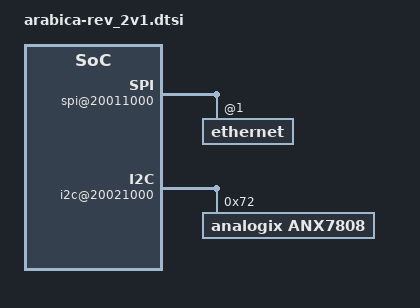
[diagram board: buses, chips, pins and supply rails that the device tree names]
/*
 * This file is for MADK v2.1
 */

/ {
	connectivity {
		wlan@0{
			power_gpio = <120>;
		};
/* sdio start */
		sdhci@0x20006000{
			sdclk = <200>;			/* 200Mhz, UHS104*/
		};
/* sdio end */
	};

	gpio-keys {
		button@1 {
			gpios = <&gpio2 1 1>;
		};
		button@2 {
			gpios = <&gpio2 2 1>;
		};
	};

	soc {

		spi@20011000{
			ethernet@1{
				irq_gpio = <5>;
			};
		};

		max77819_pmic {
			irq_gpio = <136>;
		};

		 pmic1: d2260@48 {
			regulators {
				D2260_GPIOCTRL_1 {
					regulator-name = "+1.8V_VT_CAM_IO";
					regulator-enable-gpio = <173>;
				};
			};
				};

		i2c@20021000 {

			/* LGE_CHANGE_S
			 */
			anx7808@72{
				compatible = "analogix,anx7808";
				status = "ok";
				reg = <0x72>;
				analogix,reset-gpio = <52>; /* PERI_G0_GPIO_BASE(0)+52 */
				analogix,irq-gpio = <51>;   /* PERI_G0_GPIO_BASE(0)+51 */
				analogix,p-dwn-gpio = <53>; /* PERI_G0_GPIO_BASE(0)+53 */
				analogix,v10-ctrl-gpio = <31>;  /* PERI_G0_GPIO_BASE(0)+31 */
				analogix,cbl-det-gpio = <146>;  /* SMS_GPIO_BASE(112)+34 */
				lge,external-ldo-control = <0>;
			};
			anx7812@72{
				compatible = "analogix,anx7812";
				status = "disable";
				reg = <0x72>;
				analogix,reset-gpio = <52>; /* PERI_G0_GPIO_BASE(0)+52 */
				analogix,irq-gpio = <51>;   /* PERI_G0_GPIO_BASE(0)+51 */
				analogix,p-dwn-gpio = <53>; /* PERI_G0_GPIO_BASE(0)+53 */
				analogix,v10-ctrl-gpio = <31>;  /* PERI_G0_GPIO_BASE(0)+31 */
				analogix,cbl-det-gpio = <142>;  /* SMS_GPIO_BASE(112)+30 */
				lge,external-ldo-control = <0>;
			};
		};

		max77807_pmic {
			compatible = "maxim,max77807-pmic";
			status = "disable";

			charger {
				compatible = "maxim,max77807-charger";
				status = "disable";
			};
		};
		max77807_peri {
			compatible = "maxim,max77807-periph";
			status = "disable";

			vibrator {
				compatible = "maxim,max77807-motor";
				status = "disable";
			};
		};

	};


	sdhci@0x2000A000{
		sdc_cd_gpio = <149>;
	};

};
